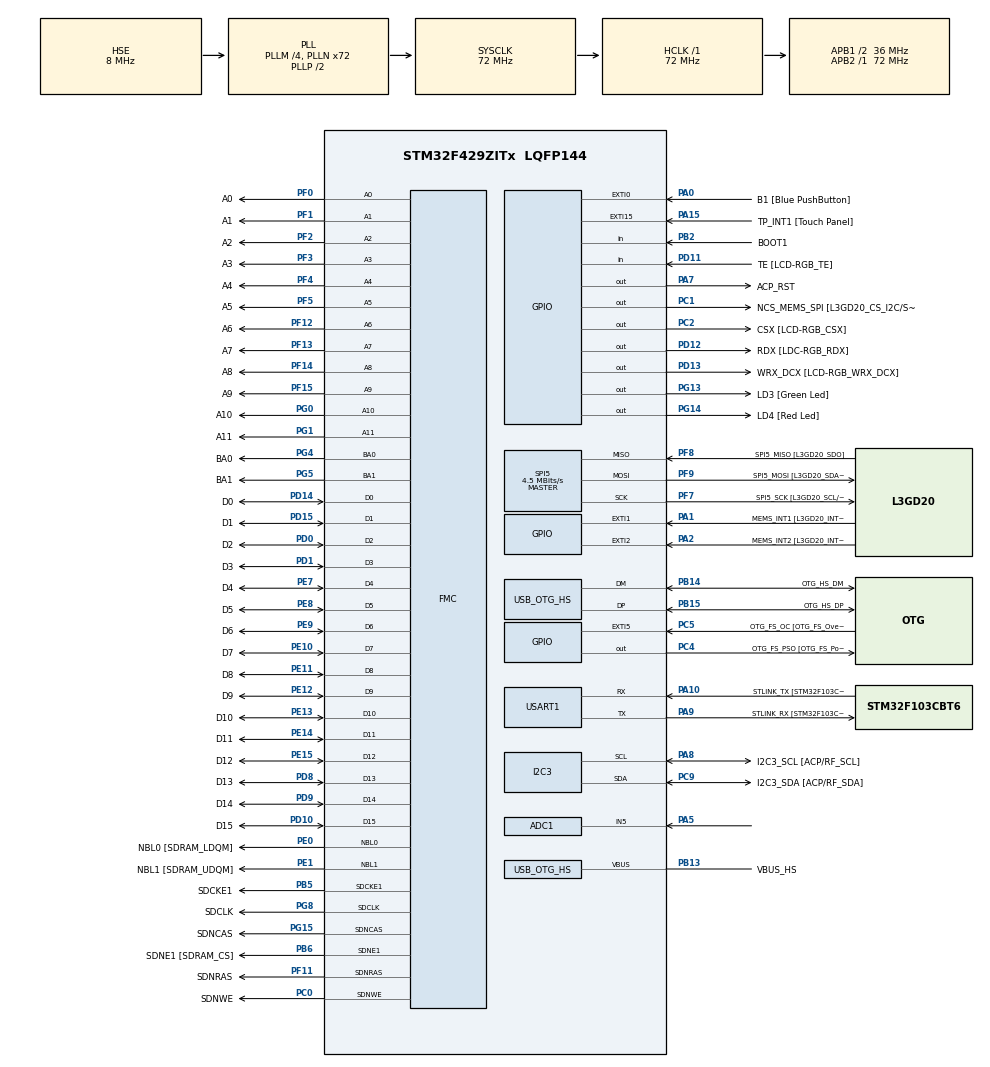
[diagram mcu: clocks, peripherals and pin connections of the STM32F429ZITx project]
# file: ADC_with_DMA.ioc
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ADC1.Channel-1\#ChannelRegularConversion=ADC_CHANNEL_5
ADC1.Channel-2\#ChannelRegularConversion=ADC_CHANNEL_TEMPSENSOR
ADC1.Channel-3\#ChannelRegularConversion=ADC_CHANNEL_VREFINT
ADC1.ContinuousConvMode=ENABLE
ADC1.DMAContinuousRequests=DISABLE
ADC1.NbrOfConversion=3
ADC1.NbrOfConversionFlag=1
ADC1.Rank-1\#ChannelRegularConversion=1
ADC1.Rank-2\#ChannelRegularConversion=2
ADC1.Rank-3\#ChannelRegularConversion=3
ADC1.Resolution=ADC_RESOLUTION_8B
ADC1.SamplingTime-1\#ChannelRegularConversion=ADC_SAMPLETIME_3CYCLES
ADC1.SamplingTime-2\#ChannelRegularConversion=ADC_SAMPLETIME_3CYCLES
ADC1.SamplingTime-3\#ChannelRegularConversion=ADC_SAMPLETIME_3CYCLES
ADC1.master=1
Dma.ADC1.0.Direction=DMA_PERIPH_TO_MEMORY
Dma.ADC1.0.FIFOMode=DMA_FIFOMODE_DISABLE
Dma.ADC1.0.Instance=DMA2_Stream0
Dma.ADC1.0.MemDataAlignment=DMA_MDATAALIGN_HALFWORD
Dma.ADC1.0.MemInc=DMA_MINC_ENABLE
Dma.ADC1.0.Mode=DMA_CIRCULAR
Dma.ADC1.0.PeriphDataAlignment=DMA_PDATAALIGN_HALFWORD
Dma.ADC1.0.PeriphInc=DMA_PINC_DISABLE
Dma.ADC1.0.Priority=DMA_PRIORITY_LOW
Dma.Request0=ADC1
FMC.CASLatency1=FMC_SDRAM_CAS_LATENCY_3
FMC.ExitSelfRefreshDelay1=7
FMC.LoadToActiveDelay1=2
FMC.RCDDelay1=2
FMC.RPDelay1=2
FMC.RPDelay2=2
FMC.ReadBurst1=FMC_SDRAM_RBURST_DISABLE
FMC.ReadPipeDelay1=FMC_SDRAM_RPIPE_DELAY_1
FMC.ReadPipeDelay2=FMC_SDRAM_RPIPE_DELAY_1
FMC.RowCycleDelay1=7
FMC.RowCycleDelay2=7
FMC.SDClockPeriod1=FMC_SDRAM_CLOCK_PERIOD_2
FMC.SDClockPeriod2=FMC_SDRAM_CLOCK_PERIOD_2
FMC.SelfRefreshTime1=4
FMC.WriteRecoveryTime1=3
Mcu.Family=STM32F4
Mcu.Name=STM32F429ZITx
Mcu.Package=LQFP144
NVIC.OTG_HS_IRQn=true\:0\:0\:false\:false\:true\:true\:true\:true
NVIC.PriorityGroup=NVIC_PRIORITYGROUP_4
NVIC.TIM6_DAC_IRQn=true\:15\:0\:false\:false\:true\:false\:true\:true
NVIC.TimeBase=TIM6_DAC_IRQn
NVIC.TimeBaseIP=TIM6
PA0/WKUP.GPIO_Label=B1 [Blue PushButton]
PA0/WKUP.GPIO_ModeDefaultEXTI=GPIO_MODE_EVT_RISING
PA0/WKUP.GPIO_PuPd=GPIO_NOPULL
PA0/WKUP.Signal=GPXTI0
PA1.GPIO_Label=MEMS_INT1 [L3GD20_INT1]
PA1.GPIO_ModeDefaultEXTI=GPIO_MODE_EVT_RISING
PA1.GPIO_PuPd=GPIO_NOPULL
PA1.Signal=GPXTI1
PA10.GPIO_Label=STLINK_TX [STM32F103CBT6_PA2]
PA10.Mode=Asynchronous
PA10.Signal=USART1_RX
PA11.GPIO_Label=R4
PA11.GPIO_Mode=GPIO_MODE_AF_PP
PA11.GPIO_PuPd=GPIO_NOPULL
PA11.GPIO_Speed=GPIO_SPEED_FREQ_LOW
PA11.Signal=LTDC_R4
PA12.GPIO_Label=R5
PA12.GPIO_Mode=GPIO_MODE_AF_PP
PA12.GPIO_PuPd=GPIO_NOPULL
PA12.GPIO_Speed=GPIO_SPEED_FREQ_LOW
PA12.Signal=LTDC_R5
PA13.GPIO_Label=SWDIO
PA13.Mode=Serial_Wire
PA13.Signal=SYS_JTMS-SWDIO
PA14.GPIO_Label=SWCLK
PA14.Mode=Serial_Wire
PA14.Signal=SYS_JTCK-SWCLK
PA15.GPIO_Label=TP_INT1 [Touch Panel]
PA15.GPIO_ModeDefaultEXTI=GPIO_MODE_EVT_RISING
PA15.GPIO_PuPd=GPIO_NOPULL
PA15.Signal=GPXTI15
PA2.GPIO_Label=MEMS_INT2 [L3GD20_INT2]
PA2.GPIO_ModeDefaultEXTI=GPIO_MODE_EVT_RISING
PA2.GPIO_PuPd=GPIO_NOPULL
PA2.Signal=GPXTI2
PA3.GPIO_Label=B5
PA3.GPIO_Mode=GPIO_MODE_AF_PP
PA3.GPIO_PuPd=GPIO_NOPULL
PA3.GPIO_Speed=GPIO_SPEED_FREQ_LOW
PA3.Signal=LTDC_B5
PA4.GPIO_Label=VSYNC
PA4.GPIO_Mode=GPIO_MODE_AF_PP
PA4.GPIO_PuPd=GPIO_NOPULL
PA4.GPIO_Speed=GPIO_SPEED_FREQ_LOW
PA4.Signal=LTDC_VSYNC
PA5.Signal=ADCx_IN5
PA6.GPIO_Label=G2
PA6.GPIO_Mode=GPIO_MODE_AF_PP
PA6.GPIO_PuPd=GPIO_NOPULL
PA6.GPIO_Speed=GPIO_SPEED_FREQ_LOW
PA6.Signal=LTDC_G2
PA7.GPIO_Label=ACP_RST
PA7.GPIO_Mode=GPIO_MODE_OUTPUT_PP
PA7.GPIO_PuPd=GPIO_NOPULL
PA7.GPIO_Speed=GPIO_SPEED_FREQ_LOW
PA7.Signal=GPIO_Output
PA8.GPIO_Label=I2C3_SCL [ACP/RF_SCL]
PA8.GPIO_Mode=GPIO_MODE_AF_OD
PA8.GPIO_Pu=GPIO_PULLUP
PA8.GPIO_PuPd=GPIO_NOPULL
PA8.GPIO_Speed=GPIO_SPEED_FREQ_LOW
PA8.Mode=I2C
PA8.Signal=I2C3_SCL
PA9.GPIO_Label=STLINK_RX [STM32F103CBT6_PA3]
PA9.Mode=Asynchronous
PA9.Signal=USART1_TX
PB0.GPIO_Label=R3
PB0.GPIO_Mode=GPIO_MODE_AF_PP
PB0.GPIO_PuPd=GPIO_NOPULL
PB0.GPIO_Speed=GPIO_SPEED_FREQ_LOW
PB0.Signal=LTDC_R3
PB1.GPIO_Label=R6
PB1.GPIO_Mode=GPIO_MODE_AF_PP
PB1.GPIO_PuPd=GPIO_NOPULL
PB1.GPIO_Speed=GPIO_SPEED_FREQ_LOW
PB1.Signal=LTDC_R6
PB10.GPIO_Label=G4
PB10.GPIO_Mode=GPIO_MODE_AF_PP
PB10.GPIO_PuPd=GPIO_NOPULL
PB10.GPIO_Speed=GPIO_SPEED_FREQ_LOW
PB10.Signal=LTDC_G4
PB11.GPIO_Label=G5
PB11.GPIO_Mode=GPIO_MODE_AF_PP
PB11.GPIO_PuPd=GPIO_NOPULL
PB11.GPIO_Speed=GPIO_SPEED_FREQ_LOW
PB11.Signal=LTDC_G5
PB12.GPIO_Label=OTG_HS_ID
PB12.GPIO_Mode=GPIO_MODE_AF_PP
PB12.GPIO_PuPd=GPIO_NOPULL
PB12.GPIO_Speed=GPIO_SPEED_FREQ_LOW
PB12.Signal=USB_OTG_HS_ID
PB13.GPIO_Label=VBUS_HS
PB13.GPIO_Mode=GPIO_MODE_INPUT
PB13.GPIO_PuPd=GPIO_NOPULL
PB13.Mode=Activate_VBUS_FS
PB13.Signal=USB_OTG_HS_VBUS
PB14.GPIO_Label=OTG_HS_DM
PB14.GPIO_Mode=GPIO_MODE_AF_PP
PB14.GPIO_PuPd=GPIO_NOPULL
PB14.GPIO_Speed=GPIO_SPEED_FREQ_LOW
PB14.Mode=Host_FS
PB14.Signal=USB_OTG_HS_DM
PB15.GPIO_Label=OTG_HS_DP
PB15.GPIO_Mode=GPIO_MODE_AF_PP
PB15.GPIO_PuPd=GPIO_NOPULL
PB15.GPIO_Speed=GPIO_SPEED_FREQ_LOW
PB15.Mode=Host_FS
PB15.Signal=USB_OTG_HS_DP
PB2/BOOT1.GPIO_Label=BOOT1
PB2/BOOT1.GPIO_Mode=GPIO_MODE_INPUT
PB2/BOOT1.GPIO_PuPd=GPIO_NOPULL
PB2/BOOT1.Signal=GPIO_Input
PB5.GPIO_Label=SDCKE1
PB5.GPIO_Mode=GPIO_MODE_AF_PP
PB5.GPIO_PuPd=GPIO_NOPULL
PB5.GPIO_Speed=GPIO_SPEED_FREQ_VERY_HIGH
PB5.Mode=SdramChipSelect2_1
PB5.Signal=FMC_SDCKE1
PB6.GPIO_Label=SDNE1 [SDRAM_CS]
PB6.GPIO_Mode=GPIO_MODE_AF_PP
PB6.GPIO_PuPd=GPIO_NOPULL
PB6.GPIO_Speed=GPIO_SPEED_FREQ_VERY_HIGH
PB6.Mode=SdramChipSelect2_1
PB6.Signal=FMC_SDNE1
PB8.GPIO_Label=B6
PB8.GPIO_Mode=GPIO_MODE_AF_PP
PB8.GPIO_PuPd=GPIO_NOPULL
PB8.GPIO_Speed=GPIO_SPEED_FREQ_LOW
PB8.Signal=LTDC_B6
PB9.GPIO_Label=B7
PB9.GPIO_Mode=GPIO_MODE_AF_PP
PB9.GPIO_PuPd=GPIO_NOPULL
PB9.GPIO_Speed=GPIO_SPEED_FREQ_LOW
PB9.Signal=LTDC_B7
PC0.GPIO_Label=SDNWE
PC0.GPIO_Mode=GPIO_MODE_AF_PP
PC0.GPIO_PuPd=GPIO_NOPULL
PC0.GPIO_Speed=GPIO_SPEED_FREQ_VERY_HIGH
PC0.Signal=FMC_SDNWE
PC1.GPIO_Label=NCS_MEMS_SPI [L3GD20_CS_I2C/SPI]
PC1.GPIO_Mode=GPIO_MODE_OUTPUT_PP
PC1.GPIO_PuPd=GPIO_NOPULL
PC1.GPIO_Speed=GPIO_SPEED_FREQ_LOW
PC1.Signal=GPIO_Output
PC10.GPIO_Label=R2
PC10.GPIO_Mode=GPIO_MODE_AF_PP
PC10.GPIO_PuPd=GPIO_NOPULL
PC10.GPIO_Speed=GPIO_SPEED_FREQ_LOW
PC10.Signal=LTDC_R2
PC14/OSC32_IN.GPIO_Label=PC14-OSC32_IN
PC14/OSC32_IN.Signal=RCC_OSC32_IN
PC15/OSC32_OUT.GPIO_Label=PC15-OSC32_OUT
PC15/OSC32_OUT.Signal=RCC_OSC32_OUT
PC2.GPIO_Label=CSX [LCD-RGB_CSX]
PC2.GPIO_Mode=GPIO_MODE_OUTPUT_PP
PC2.GPIO_PuPd=GPIO_NOPULL
PC2.GPIO_Speed=GPIO_SPEED_FREQ_LOW
PC2.Signal=GPIO_Output
PC4.GPIO_Label=OTG_FS_PSO [OTG_FS_PowerSwitchOn]
PC4.GPIO_Mode=GPIO_MODE_OUTPUT_PP
PC4.GPIO_PuPd=GPIO_NOPULL
PC4.GPIO_Speed=GPIO_SPEED_FREQ_LOW
PC4.Signal=GPIO_Output
PC5.GPIO_Label=OTG_FS_OC [OTG_FS_OverCurrent]
PC5.GPIO_ModeDefaultEXTI=GPIO_MODE_EVT_RISING
PC5.Signal=GPXTI5
PC6.GPIO_Label=HSYNC
PC6.GPIO_Mode=GPIO_MODE_AF_PP
PC6.GPIO_PuPd=GPIO_NOPULL
PC6.GPIO_Speed=GPIO_SPEED_FREQ_LOW
PC6.Signal=LTDC_HSYNC
PC7.GPIO_Label=G6
PC7.GPIO_Mode=GPIO_MODE_AF_PP
PC7.GPIO_PuPd=GPIO_NOPULL
PC7.GPIO_Speed=GPIO_SPEED_FREQ_LOW
PC7.Signal=LTDC_G6
PC9.GPIO_Label=I2C3_SDA [ACP/RF_SDA]
PC9.GPIO_Mode=GPIO_MODE_AF_OD
PC9.GPIO_Pu=GPIO_PULLUP
PC9.GPIO_PuPd=GPIO_NOPULL
PC9.GPIO_Speed=GPIO_SPEED_FREQ_LOW
PC9.Mode=I2C
PC9.Signal=I2C3_SDA
PD0.GPIO_Label=D2
PD0.GPIO_Mode=GPIO_MODE_AF_PP
PD0.GPIO_PuPd=GPIO_NOPULL
PD0.GPIO_Speed=GPIO_SPEED_FREQ_VERY_HIGH
PD0.Signal=FMC_D2_DA2
PD1.GPIO_Label=D3
PD1.GPIO_Mode=GPIO_MODE_AF_PP
PD1.GPIO_PuPd=GPIO_NOPULL
PD1.GPIO_Speed=GPIO_SPEED_FREQ_VERY_HIGH
PD1.Signal=FMC_D3_DA3
PD10.GPIO_Label=D15
PD10.GPIO_Mode=GPIO_MODE_AF_PP
PD10.GPIO_PuPd=GPIO_NOPULL
PD10.GPIO_Speed=GPIO_SPEED_FREQ_VERY_HIGH
PD10.Signal=FMC_D15_DA15
PD11.GPIO_Label=TE [LCD-RGB_TE]
PD11.GPIO_Mode=GPIO_MODE_INPUT
PD11.GPIO_PuPd=GPIO_NOPULL
PD11.Signal=GPIO_Input
PD12.GPIO_Label=RDX [LDC-RGB_RDX]
PD12.GPIO_Mode=GPIO_MODE_OUTPUT_PP
PD12.GPIO_PuPd=GPIO_NOPULL
PD12.GPIO_Speed=GPIO_SPEED_FREQ_LOW
PD12.Signal=GPIO_Output
PD13.GPIO_Label=WRX_DCX [LCD-RGB_WRX_DCX]
PD13.GPIO_Mode=GPIO_MODE_OUTPUT_PP
PD13.GPIO_PuPd=GPIO_NOPULL
PD13.GPIO_Speed=GPIO_SPEED_FREQ_LOW
PD13.Signal=GPIO_Output
PD14.GPIO_Label=D0
PD14.GPIO_Mode=GPIO_MODE_AF_PP
PD14.GPIO_PuPd=GPIO_NOPULL
PD14.GPIO_Speed=GPIO_SPEED_FREQ_VERY_HIGH
PD14.Signal=FMC_D0_DA0
PD15.GPIO_Label=D1
PD15.GPIO_Mode=GPIO_MODE_AF_PP
PD15.GPIO_PuPd=GPIO_NOPULL
PD15.GPIO_Speed=GPIO_SPEED_FREQ_VERY_HIGH
PD15.Signal=FMC_D1_DA1
PD3.GPIO_Label=G7
PD3.GPIO_Mode=GPIO_MODE_AF_PP
PD3.GPIO_PuPd=GPIO_NOPULL
PD3.GPIO_Speed=GPIO_SPEED_FREQ_LOW
PD3.Signal=LTDC_G7
PD6.GPIO_Label=B2
PD6.GPIO_Mode=GPIO_MODE_AF_PP
PD6.GPIO_PuPd=GPIO_NOPULL
PD6.GPIO_Speed=GPIO_SPEED_FREQ_LOW
PD6.Signal=LTDC_B2
PD8.GPIO_Label=D13
PD8.GPIO_Mode=GPIO_MODE_AF_PP
PD8.GPIO_PuPd=GPIO_NOPULL
PD8.GPIO_Speed=GPIO_SPEED_FREQ_VERY_HIGH
PD8.Signal=FMC_D13_DA13
PD9.GPIO_Label=D14
PD9.GPIO_Mode=GPIO_MODE_AF_PP
PD9.GPIO_PuPd=GPIO_NOPULL
PD9.GPIO_Speed=GPIO_SPEED_FREQ_VERY_HIGH
PD9.Signal=FMC_D14_DA14
PE0.GPIO_Label=NBL0 [SDRAM_LDQM]
PE0.GPIO_Mode=GPIO_MODE_AF_PP
PE0.GPIO_PuPd=GPIO_NOPULL
PE0.GPIO_Speed=GPIO_SPEED_FREQ_VERY_HIGH
PE0.Signal=FMC_NBL0
PE1.GPIO_Label=NBL1 [SDRAM_UDQM]
PE1.GPIO_Mode=GPIO_MODE_AF_PP
PE1.GPIO_PuPd=GPIO_NOPULL
PE1.GPIO_Speed=GPIO_SPEED_FREQ_VERY_HIGH
PE1.Signal=FMC_NBL1
PE10.GPIO_Label=D7
PE10.GPIO_Mode=GPIO_MODE_AF_PP
PE10.GPIO_PuPd=GPIO_NOPULL
PE10.GPIO_Speed=GPIO_SPEED_FREQ_VERY_HIGH
PE10.Signal=FMC_D7_DA7
PE11.GPIO_Label=D8
PE11.GPIO_Mode=GPIO_MODE_AF_PP
PE11.GPIO_PuPd=GPIO_NOPULL
PE11.GPIO_Speed=GPIO_SPEED_FREQ_VERY_HIGH
PE11.Signal=FMC_D8_DA8
PE12.GPIO_Label=D9
PE12.GPIO_Mode=GPIO_MODE_AF_PP
PE12.GPIO_PuPd=GPIO_NOPULL
PE12.GPIO_Speed=GPIO_SPEED_FREQ_VERY_HIGH
PE12.Signal=FMC_D9_DA9
PE13.GPIO_Label=D10
PE13.GPIO_Mode=GPIO_MODE_AF_PP
PE13.GPIO_PuPd=GPIO_NOPULL
PE13.GPIO_Speed=GPIO_SPEED_FREQ_VERY_HIGH
PE13.Signal=FMC_D10_DA10
PE14.GPIO_Label=D11
PE14.GPIO_Mode=GPIO_MODE_AF_PP
PE14.GPIO_PuPd=GPIO_NOPULL
PE14.GPIO_Speed=GPIO_SPEED_FREQ_VERY_HIGH
PE14.Signal=FMC_D11_DA11
PE15.GPIO_Label=D12
PE15.GPIO_Mode=GPIO_MODE_AF_PP
PE15.GPIO_PuPd=GPIO_NOPULL
PE15.GPIO_Speed=GPIO_SPEED_FREQ_VERY_HIGH
PE15.Signal=FMC_D12_DA12
PE7.GPIO_Label=D4
PE7.GPIO_Mode=GPIO_MODE_AF_PP
PE7.GPIO_PuPd=GPIO_NOPULL
PE7.GPIO_Speed=GPIO_SPEED_FREQ_VERY_HIGH
PE7.Signal=FMC_D4_DA4
PE8.GPIO_Label=D5
PE8.GPIO_Mode=GPIO_MODE_AF_PP
PE8.GPIO_PuPd=GPIO_NOPULL
PE8.GPIO_Speed=GPIO_SPEED_FREQ_VERY_HIGH
PE8.Signal=FMC_D5_DA5
PE9.GPIO_Label=D6
PE9.GPIO_Mode=GPIO_MODE_AF_PP
PE9.GPIO_PuPd=GPIO_NOPULL
PE9.GPIO_Speed=GPIO_SPEED_FREQ_VERY_HIGH
PE9.Signal=FMC_D6_DA6
PF0.GPIO_Label=A0
PF0.GPIO_Mode=GPIO_MODE_AF_PP
PF0.GPIO_PuPd=GPIO_NOPULL
PF0.GPIO_Speed=GPIO_SPEED_FREQ_VERY_HIGH
PF0.Signal=FMC_A0
PF1.GPIO_Label=A1
PF1.GPIO_Mode=GPIO_MODE_AF_PP
PF1.GPIO_PuPd=GPIO_NOPULL
PF1.GPIO_Speed=GPIO_SPEED_FREQ_VERY_HIGH
PF1.Signal=FMC_A1
PF10.GPIO_Label=ENABLE [LCD-RGB_ENABLE]
PF10.GPIO_Mode=GPIO_MODE_AF_PP
PF10.GPIO_PuPd=GPIO_NOPULL
PF10.GPIO_Speed=GPIO_SPEED_FREQ_LOW
PF10.Signal=LTDC_DE
PF11.GPIO_Label=SDNRAS
PF11.GPIO_Mode=GPIO_MODE_AF_PP
PF11.GPIO_PuPd=GPIO_NOPULL
PF11.GPIO_Speed=GPIO_SPEED_FREQ_VERY_HIGH
PF11.Signal=FMC_SDNRAS
PF12.GPIO_Label=A6
PF12.GPIO_Mode=GPIO_MODE_AF_PP
PF12.GPIO_PuPd=GPIO_NOPULL
PF12.GPIO_Speed=GPIO_SPEED_FREQ_VERY_HIGH
PF12.Signal=FMC_A6
PF13.GPIO_Label=A7
PF13.GPIO_Mode=GPIO_MODE_AF_PP
PF13.GPIO_PuPd=GPIO_NOPULL
PF13.GPIO_Speed=GPIO_SPEED_FREQ_VERY_HIGH
PF13.Signal=FMC_A7
PF14.GPIO_Label=A8
PF14.GPIO_Mode=GPIO_MODE_AF_PP
PF14.GPIO_PuPd=GPIO_NOPULL
PF14.GPIO_Speed=GPIO_SPEED_FREQ_VERY_HIGH
PF14.Signal=FMC_A8
PF15.GPIO_Label=A9
PF15.GPIO_Mode=GPIO_MODE_AF_PP
PF15.GPIO_PuPd=GPIO_NOPULL
PF15.GPIO_Speed=GPIO_SPEED_FREQ_VERY_HIGH
PF15.Signal=FMC_A9
PF2.GPIO_Label=A2
PF2.GPIO_Mode=GPIO_MODE_AF_PP
PF2.GPIO_PuPd=GPIO_NOPULL
PF2.GPIO_Speed=GPIO_SPEED_FREQ_VERY_HIGH
PF2.Signal=FMC_A2
PF3.GPIO_Label=A3
PF3.GPIO_Mode=GPIO_MODE_AF_PP
PF3.GPIO_PuPd=GPIO_NOPULL
PF3.GPIO_Speed=GPIO_SPEED_FREQ_VERY_HIGH
PF3.Signal=FMC_A3
PF4.GPIO_Label=A4
PF4.GPIO_Mode=GPIO_MODE_AF_PP
PF4.GPIO_PuPd=GPIO_NOPULL
PF4.GPIO_Speed=GPIO_SPEED_FREQ_VERY_HIGH
PF4.Signal=FMC_A4
PF5.GPIO_Label=A5
PF5.GPIO_Mode=GPIO_MODE_AF_PP
PF5.GPIO_PuPd=GPIO_NOPULL
PF5.GPIO_Speed=GPIO_SPEED_FREQ_VERY_HIGH
PF5.Signal=FMC_A5
PF7.GPIO_Label=SPI5_SCK [L3GD20_SCL/SPC]
PF7.GPIO_Mode=GPIO_MODE_AF_PP
PF7.GPIO_PuPd=GPIO_NOPULL
PF7.GPIO_Speed=GPIO_SPEED_FREQ_LOW
PF7.Mode=Full_Duplex_Master
PF7.Signal=SPI5_SCK
PF8.GPIO_Label=SPI5_MISO [L3GD20_SDO]
PF8.GPIO_Mode=GPIO_MODE_AF_PP
PF8.GPIO_PuPd=GPIO_NOPULL
PF8.GPIO_Speed=GPIO_SPEED_FREQ_LOW
PF8.Mode=Full_Duplex_Master
PF8.Signal=SPI5_MISO
PF9.GPIO_Label=SPI5_MOSI [L3GD20_SDA/SDI/SDO]
PF9.GPIO_Mode=GPIO_MODE_AF_PP
PF9.GPIO_PuPd=GPIO_NOPULL
PF9.GPIO_Speed=GPIO_SPEED_FREQ_LOW
PF9.Mode=Full_Duplex_Master
PF9.Signal=SPI5_MOSI
PG0.GPIO_Label=A10
PG0.GPIO_Mode=GPIO_MODE_AF_PP
PG0.GPIO_PuPd=GPIO_NOPULL
PG0.GPIO_Speed=GPIO_SPEED_FREQ_VERY_HIGH
PG0.Signal=FMC_A10
PG1.GPIO_Label=A11
PG1.GPIO_Mode=GPIO_MODE_AF_PP
PG1.GPIO_PuPd=GPIO_NOPULL
PG1.GPIO_Speed=GPIO_SPEED_FREQ_VERY_HIGH
PG1.Signal=FMC_A11
PG10.GPIO_Label=G3
PG10.GPIO_Mode=GPIO_MODE_AF_PP
PG10.GPIO_PuPd=GPIO_NOPULL
PG10.GPIO_Speed=GPIO_SPEED_FREQ_LOW
PG10.Signal=LTDC_G3
PG11.GPIO_Label=B3
PG11.GPIO_Mode=GPIO_MODE_AF_PP
PG11.GPIO_PuPd=GPIO_NOPULL
PG11.GPIO_Speed=GPIO_SPEED_FREQ_LOW
PG11.Signal=LTDC_B3
PG12.GPIO_Label=B4
PG12.GPIO_Mode=GPIO_MODE_AF_PP
PG12.GPIO_PuPd=GPIO_NOPULL
PG12.GPIO_Speed=GPIO_SPEED_FREQ_LOW
PG12.Signal=LTDC_B4
PG13.GPIO_Label=LD3 [Green Led]
PG13.GPIO_Mode=GPIO_MODE_OUTPUT_PP
PG13.GPIO_PuPd=GPIO_NOPULL
PG13.GPIO_Speed=GPIO_SPEED_FREQ_LOW
PG13.Signal=GPIO_Output
PG14.GPIO_Label=LD4 [Red Led]
PG14.GPIO_Mode=GPIO_MODE_OUTPUT_PP
PG14.GPIO_PuPd=GPIO_NOPULL
PG14.GPIO_Speed=GPIO_SPEED_FREQ_LOW
PG14.Signal=GPIO_Output
PG15.GPIO_Label=SDNCAS
PG15.GPIO_Mode=GPIO_MODE_AF_PP
PG15.GPIO_PuPd=GPIO_NOPULL
PG15.GPIO_Speed=GPIO_SPEED_FREQ_VERY_HIGH
PG15.Signal=FMC_SDNCAS
PG4.GPIO_Label=BA0
PG4.GPIO_Mode=GPIO_MODE_AF_PP
PG4.GPIO_PuPd=GPIO_NOPULL
PG4.GPIO_Speed=GPIO_SPEED_FREQ_VERY_HIGH
PG4.Signal=FMC_A14_BA0
PG5.GPIO_Label=BA1
PG5.GPIO_Mode=GPIO_MODE_AF_PP
PG5.GPIO_PuPd=GPIO_NOPULL
PG5.GPIO_Speed=GPIO_SPEED_FREQ_VERY_HIGH
PG5.Signal=FMC_A15_BA1
PG6.GPIO_Label=R7
PG6.GPIO_Mode=GPIO_MODE_AF_PP
PG6.GPIO_PuPd=GPIO_NOPULL
PG6.GPIO_Speed=GPIO_SPEED_FREQ_LOW
PG6.Signal=LTDC_R7
PG7.GPIO_Label=DOTCLK [LCT-RGB_DOTCLK]
PG7.GPIO_Mode=GPIO_MODE_AF_PP
PG7.GPIO_PuPd=GPIO_NOPULL
PG7.GPIO_Speed=GPIO_SPEED_FREQ_LOW
PG7.Signal=LTDC_CLK
PG8.GPIO_Label=SDCLK
PG8.GPIO_Mode=GPIO_MODE_AF_PP
PG8.GPIO_PuPd=GPIO_NOPULL
PG8.GPIO_Speed=GPIO_SPEED_FREQ_VERY_HIGH
PG8.Signal=FMC_SDCLK
PH0/OSC_IN.GPIO_Label=PH0-OSC_IN
PH0/OSC_IN.Mode=HSE-External-Oscillator
PH0/OSC_IN.Signal=RCC_OSC_IN
PH1/OSC_OUT.GPIO_Label=PH1-OSC_OUT
PH1/OSC_OUT.Mode=HSE-External-Oscillator
PH1/OSC_OUT.Signal=RCC_OSC_OUT
ProjectManager.HeapSize=0x200
ProjectManager.StackSize=0x400
ProjectManager.TargetToolchain=STM32CubeIDE
RCC.48MHZClocksFreq_Value=48000000
RCC.AHBFreq_Value=72000000
RCC.APB1CLKDivider=RCC_HCLK_DIV2
RCC.APB1Freq_Value=36000000
RCC.APB1TimFreq_Value=72000000
RCC.APB2Freq_Value=72000000
RCC.APB2TimFreq_Value=72000000
RCC.CortexFreq_Value=72000000
RCC.HCLKFreq_Value=72000000
RCC.HSE_VALUE=8000000
RCC.HSI_VALUE=16000000
RCC.LSE_VALUE=32768
RCC.PLLM=4
RCC.PLLN=72
RCC.PLLQ=3
RCC.PLLSAIN=50
RCC.SYSCLKFreq_VALUE=72000000
RCC.SYSCLKSource=RCC_SYSCLKSOURCE_PLLCLK
RCC.VCOOutputFreq_Value=144000000
SH.ADCx_IN5.0=ADC1_IN5,IN5
SH.FMC_A0.0=FMC_A0,12b-sda1
SH.FMC_A1.0=FMC_A1,12b-sda1
SH.FMC_A10.0=FMC_A10,12b-sda1
SH.FMC_A11.0=FMC_A11,12b-sda1
SH.FMC_A14_BA0.0=FMC_BA0,FourSdramBanks1
SH.FMC_A15_BA1.0=FMC_BA1,FourSdramBanks1
SH.FMC_A2.0=FMC_A2,12b-sda1
SH.FMC_A3.0=FMC_A3,12b-sda1
SH.FMC_A4.0=FMC_A4,12b-sda1
SH.FMC_A5.0=FMC_A5,12b-sda1
SH.FMC_A6.0=FMC_A6,12b-sda1
SH.FMC_A7.0=FMC_A7,12b-sda1
SH.FMC_A8.0=FMC_A8,12b-sda1
SH.FMC_A9.0=FMC_A9,12b-sda1
SH.FMC_D0_DA0.0=FMC_D0,sd-16b-d1
SH.FMC_D10_DA10.0=FMC_D10,sd-16b-d1
SH.FMC_D11_DA11.0=FMC_D11,sd-16b-d1
SH.FMC_D12_DA12.0=FMC_D12,sd-16b-d1
SH.FMC_D13_DA13.0=FMC_D13,sd-16b-d1
SH.FMC_D14_DA14.0=FMC_D14,sd-16b-d1
SH.FMC_D15_DA15.0=FMC_D15,sd-16b-d1
SH.FMC_D1_DA1.0=FMC_D1,sd-16b-d1
SH.FMC_D2_DA2.0=FMC_D2,sd-16b-d1
SH.FMC_D3_DA3.0=FMC_D3,sd-16b-d1
SH.FMC_D4_DA4.0=FMC_D4,sd-16b-d1
SH.FMC_D5_DA5.0=FMC_D5,sd-16b-d1
SH.FMC_D6_DA6.0=FMC_D6,sd-16b-d1
SH.FMC_D7_DA7.0=FMC_D7,sd-16b-d1
SH.FMC_D8_DA8.0=FMC_D8,sd-16b-d1
SH.FMC_D9_DA9.0=FMC_D9,sd-16b-d1
SH.FMC_NBL0.0=FMC_NBL0,Sd2ByteEnable1
SH.FMC_NBL1.0=FMC_NBL1,Sd2ByteEnable1
SH.FMC_SDCLK.0=FMC_SDCLK,12b-sda1
SH.FMC_SDNCAS.0=FMC_SDNCAS,12b-sda1
SH.FMC_SDNRAS.0=FMC_SDNRAS,12b-sda1
SH.FMC_SDNWE.0=FMC_SDNWE,12b-sda1
SPI5.BaudRatePrescaler=SPI_BAUDRATEPRESCALER_16
SPI5.CalculateBaudRate=4.5 MBits/s
SPI5.Direction=SPI_DIRECTION_2LINES
SPI5.Mode=SPI_MODE_MASTER
SPI5.VirtualType=VM_MASTER
USART1.VirtualMode=VM_ASYNC
USB_HOST.BSP.number=1
USB_HOST.USBH_HandleTypeDef-CDC_HS=hUsbHostHS
USB_HOST.VirtualModeHS=Cdc
USB_HOST0.BSP.STBoard=false
USB_HOST0.BSP.api=UnknownBspDriver
USB_HOST0.BSP.instance=PC4
USB_HOST0.BSP.ip=GPIO
USB_HOST0.BSP.mode=Output
USB_HOST0.BSP.name=Drive_VBUS_HS
USB_HOST0.BSP.solution=PC4
USB_OTG_HS.VirtualMode-Host_FS=Host_FS
VP_ADC1_TempSens_Input.Mode=IN-TempSens
VP_ADC1_Vref_Input.Mode=IN-Vrefint
VP_CRC_VS_CRC.Mode=CRC_Activate
VP_SYS_VS_tim6.Mode=TIM6
VP_TIM1_VS_ClockSourceINT.Mode=Internal
VP_USB_HOST_VS_USB_HOST_CDC_HS.Mode=CDC_HS
board=STM32F429I-DISC1

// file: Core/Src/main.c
/* USER CODE BEGIN Header */
/**
  ******************************************************************************
  * @file           : main.c
  * @brief          : Main program body
  ******************************************************************************
  * @attention
  *
  * Copyright (c) 2024 STMicroelectronics.
  * All rights reserved.
  *
  * This software is licensed under terms that can be found in the LICENSE file
  * in the root directory of this software component.
  * If no LICENSE file comes with this software, it is provided AS-IS.
  *
  ******************************************************************************
  */
/* USER CODE END Header */
#include "main.h"
#include "usb_host.h"

ADC_HandleTypeDef hadc1;
DMA_HandleTypeDef hdma_adc1;

CRC_HandleTypeDef hcrc;

I2C_HandleTypeDef hi2c3;

SPI_HandleTypeDef hspi5;

TIM_HandleTypeDef htim1;

UART_HandleTypeDef huart1;

SDRAM_HandleTypeDef hsdram1;

/* USER CODE BEGIN PV */
uint8_t adc_value_1 = 0;
uint8_t adc_value_2 = 0;
uint8_t adc_value_3 = 0;
/* USER CODE END PV */

void SystemClock_Config(void);
static void MX_GPIO_Init(void);
static void MX_DMA_Init(void);
static void MX_CRC_Init(void);
static void MX_FMC_Init(void);
static void MX_I2C3_Init(void);
static void MX_SPI5_Init(void);
static void MX_TIM1_Init(void);
static void MX_USART1_UART_Init(void);
static void MX_ADC1_Init(void);
void MX_USB_HOST_Process(void);

/* USER CODE BEGIN PFP */
// printf -> _write ?��?���? ?��?��?��?��?�� HAL_UART_Transmit�? ?��?��?�� 출력?��?���? �?�?
int _write(int file, char* p, int len){
	HAL_UART_Transmit(&huart1, p, len, 10);
	return len;
}

void kgs_get_adc_array(ADC_HandleTypeDef *hadc,uint32_t value_1,uint32_t value_2,uint32_t value_3)
{

	adc_value_1 = (hadc->Instance->SQR3 & ADC_SQR3_SQ1 ) ;
	adc_value_2 = (  (hadc->Instance->SQR3) >> 5  & ADC_SQR3_SQ1) ;
	adc_value_3 = (  (hadc->Instance->SQR3) >> 10  & ADC_SQR3_SQ1 ) ;

}

/* USER CODE END PFP */

int main(void)
{

  /* MCU Configuration--------------------------------------------------------*/

  /* Reset of all peripherals, Initializes the Flash interface and the Systick. */
  HAL_Init();

  /* Configure the system clock */
  SystemClock_Config();

  /* Initialize all configured peripherals */
  MX_GPIO_Init();
  MX_DMA_Init();
  MX_CRC_Init();
  MX_FMC_Init();
  MX_I2C3_Init();
  MX_SPI5_Init();
  MX_TIM1_Init();
  MX_USART1_UART_Init();
  MX_USB_HOST_Init();
  MX_ADC1_Init();
  /* USER CODE BEGIN 2 */
  //HAL_ADC_Start(&hadc1);

  /* USER CODE END 2 */

  /* Infinite loop */
  /* USER CODE BEGIN WHILE */

  while (1)
  {
	  HAL_ADC_Start(&hadc1);

	 // adc_value = HAL_ADC_GetValue(&hadc1);
	  kgs_get_adc_array(&hadc1    ,adc_value_1,adc_value_2,adc_value_3 );
	  HAL_ADC_PollForConversion(&hadc1,10);

    HAL_ADC_Stop(&hadc1);

	printf("adc_value 1 : %d\n", adc_value_1);
	printf("adc_value 2 : %d\n", adc_value_2);
	printf("adc_value 3 : %d\n", adc_value_3);
	//HAL_Delay(100);
    /* USER CODE END WHILE */
    MX_USB_HOST_Process();

  }
}

void SystemClock_Config(void)
{
  RCC_OscInitTypeDef RCC_OscInitStruct = {0};
  RCC_ClkInitTypeDef RCC_ClkInitStruct = {0};

  /** Configure the main internal regulator output voltage
  */
  __HAL_RCC_PWR_CLK_ENABLE();
  __HAL_PWR_VOLTAGESCALING_CONFIG(PWR_REGULATOR_VOLTAGE_SCALE3);

  /** Initializes the RCC Oscillators according to the specified parameters
  * in the RCC_OscInitTypeDef structure.
  */
  RCC_OscInitStruct.OscillatorType = RCC_OSCILLATORTYPE_HSE;
  RCC_OscInitStruct.HSEState = RCC_HSE_ON;
  RCC_OscInitStruct.PLL.PLLState = RCC_PLL_ON;
  RCC_OscInitStruct.PLL.PLLSource = RCC_PLLSOURCE_HSE;
  RCC_OscInitStruct.PLL.PLLM = 4;
  RCC_OscInitStruct.PLL.PLLN = 72;
  RCC_OscInitStruct.PLL.PLLP = RCC_PLLP_DIV2;
  RCC_OscInitStruct.PLL.PLLQ = 3;
  if (HAL_RCC_OscConfig(&RCC_OscInitStruct) != HAL_OK)
  {
    Error_Handler();
  }

  /** Initializes the CPU, AHB and APB buses clocks
  */
  RCC_ClkInitStruct.ClockType = RCC_CLOCKTYPE_HCLK|RCC_CLOCKTYPE_SYSCLK
                              |RCC_CLOCKTYPE_PCLK1|RCC_CLOCKTYPE_PCLK2;
  RCC_ClkInitStruct.SYSCLKSource = RCC_SYSCLKSOURCE_PLLCLK;
  RCC_ClkInitStruct.AHBCLKDivider = RCC_SYSCLK_DIV1;
  RCC_ClkInitStruct.APB1CLKDivider = RCC_HCLK_DIV2;
  RCC_ClkInitStruct.APB2CLKDivider = RCC_HCLK_DIV1;

  if (HAL_RCC_ClockConfig(&RCC_ClkInitStruct, FLASH_LATENCY_2) != HAL_OK)
  {
    Error_Handler();
  }
}

static void MX_ADC1_Init(void)
{

  ADC_ChannelConfTypeDef sConfig = {0};

  /** Configure the global features of the ADC (Clock, Resolution, Data Alignment and number of conversion)
  */
  hadc1.Instance = ADC1;
  hadc1.Init.ClockPrescaler = ADC_CLOCK_SYNC_PCLK_DIV2;
  hadc1.Init.Resolution = ADC_RESOLUTION_8B;
  hadc1.Init.ScanConvMode = ENABLE;
  hadc1.Init.ContinuousConvMode = ENABLE;
  hadc1.Init.DiscontinuousConvMode = DISABLE;
  hadc1.Init.ExternalTrigConvEdge = ADC_EXTERNALTRIGCONVEDGE_NONE;
  hadc1.Init.ExternalTrigConv = ADC_SOFTWARE_START;
  hadc1.Init.DataAlign = ADC_DATAALIGN_RIGHT;
  hadc1.Init.NbrOfConversion = 3;
  hadc1.Init.DMAContinuousRequests = DISABLE;
  hadc1.Init.EOCSelection = ADC_EOC_SINGLE_CONV;
  if (HAL_ADC_Init(&hadc1) != HAL_OK)
  {
    Error_Handler();
  }

  /** Configure for the selected ADC regular channel its corresponding rank in the sequencer and its sample time.
  */
  sConfig.Channel = ADC_CHANNEL_5;
  sConfig.Rank = 1;
  sConfig.SamplingTime = ADC_SAMPLETIME_3CYCLES;
  if (HAL_ADC_ConfigChannel(&hadc1, &sConfig) != HAL_OK)
  {
    Error_Handler();
  }

  /** Configure for the selected ADC regular channel its corresponding rank in the sequencer and its sample time.
  */
  sConfig.Channel = ADC_CHANNEL_TEMPSENSOR;
  sConfig.Rank = 2;
  if (HAL_ADC_ConfigChannel(&hadc1, &sConfig) != HAL_OK)
  {
    Error_Handler();
  }

  /** Configure for the selected ADC regular channel its corresponding rank in the sequencer and its sample time.
  */
  sConfig.Channel = ADC_CHANNEL_VREFINT;
  sConfig.Rank = 3;
  if (HAL_ADC_ConfigChannel(&hadc1, &sConfig) != HAL_OK)
  {
    Error_Handler();
  }

}

static void MX_CRC_Init(void)
{

  hcrc.Instance = CRC;
  if (HAL_CRC_Init(&hcrc) != HAL_OK)
  {
    Error_Handler();
  }

}

static void MX_I2C3_Init(void)
{

  hi2c3.Instance = I2C3;
  hi2c3.Init.ClockSpeed = 100000;
  hi2c3.Init.DutyCycle = I2C_DUTYCYCLE_2;
  hi2c3.Init.OwnAddress1 = 0;
  hi2c3.Init.AddressingMode = I2C_ADDRESSINGMODE_7BIT;
  hi2c3.Init.DualAddressMode = I2C_DUALADDRESS_DISABLE;
  hi2c3.Init.OwnAddress2 = 0;
  hi2c3.Init.GeneralCallMode = I2C_GENERALCALL_DISABLE;
  hi2c3.Init.NoStretchMode = I2C_NOSTRETCH_DISABLE;
  if (HAL_I2C_Init(&hi2c3) != HAL_OK)
  {
    Error_Handler();
  }

  /** Configure Analogue filter
  */
  if (HAL_I2CEx_ConfigAnalogFilter(&hi2c3, I2C_ANALOGFILTER_ENABLE) != HAL_OK)
  {
    Error_Handler();
  }

  /** Configure Digital filter
  */
  if (HAL_I2CEx_ConfigDigitalFilter(&hi2c3, 0) != HAL_OK)
  {
    Error_Handler();
  }

}

static void MX_SPI5_Init(void)
{

  /* SPI5 parameter configuration*/
  hspi5.Instance = SPI5;
  hspi5.Init.Mode = SPI_MODE_MASTER;
  hspi5.Init.Direction = SPI_DIRECTION_2LINES;
  hspi5.Init.DataSize = SPI_DATASIZE_8BIT;
  hspi5.Init.CLKPolarity = SPI_POLARITY_LOW;
  hspi5.Init.CLKPhase = SPI_PHASE_1EDGE;
  hspi5.Init.NSS = SPI_NSS_SOFT;
  hspi5.Init.BaudRatePrescaler = SPI_BAUDRATEPRESCALER_16;
  hspi5.Init.FirstBit = SPI_FIRSTBIT_MSB;
  hspi5.Init.TIMode = SPI_TIMODE_DISABLE;
  hspi5.Init.CRCCalculation = SPI_CRCCALCULATION_DISABLE;
  hspi5.Init.CRCPolynomial = 10;
  if (HAL_SPI_Init(&hspi5) != HAL_OK)
  {
    Error_Handler();
  }

}

static void MX_TIM1_Init(void)
{

  TIM_ClockConfigTypeDef sClockSourceConfig = {0};
  TIM_MasterConfigTypeDef sMasterConfig = {0};

  htim1.Instance = TIM1;
  htim1.Init.Prescaler = 0;
  htim1.Init.CounterMode = TIM_COUNTERMODE_UP;
  htim1.Init.Period = 65535;
  htim1.Init.ClockDivision = TIM_CLOCKDIVISION_DIV1;
  htim1.Init.RepetitionCounter = 0;
  htim1.Init.AutoReloadPreload = TIM_AUTORELOAD_PRELOAD_DISABLE;
  if (HAL_TIM_Base_Init(&htim1) != HAL_OK)
  {
    Error_Handler();
  }
  sClockSourceConfig.ClockSource = TIM_CLOCKSOURCE_INTERNAL;
  if (HAL_TIM_ConfigClockSource(&htim1, &sClockSourceConfig) != HAL_OK)
  {
    Error_Handler();
  }
  sMasterConfig.MasterOutputTrigger = TIM_TRGO_RESET;
  sMasterConfig.MasterSlaveMode = TIM_MASTERSLAVEMODE_DISABLE;
  if (HAL_TIMEx_MasterConfigSynchronization(&htim1, &sMasterConfig) != HAL_OK)
  {
    Error_Handler();
  }

}

static void MX_USART1_UART_Init(void)
{

  huart1.Instance = USART1;
  huart1.Init.BaudRate = 115200;
  huart1.Init.WordLength = UART_WORDLENGTH_8B;
  huart1.Init.StopBits = UART_STOPBITS_1;
  huart1.Init.Parity = UART_PARITY_NONE;
  huart1.Init.Mode = UART_MODE_TX_RX;
  huart1.Init.HwFlowCtl = UART_HWCONTROL_NONE;
  huart1.Init.OverSampling = UART_OVERSAMPLING_16;
  if (HAL_UART_Init(&huart1) != HAL_OK)
  {
    Error_Handler();
  }

}

static void MX_DMA_Init(void)
{

  /* DMA controller clock enable */
  __HAL_RCC_DMA2_CLK_ENABLE();

}

/* FMC initialization function */
static void MX_FMC_Init(void)
{

  FMC_SDRAM_TimingTypeDef SdramTiming = {0};

  /** Perform the SDRAM1 memory initialization sequence
  */
  hsdram1.Instance = FMC_SDRAM_DEVICE;
  /* hsdram1.Init */
  hsdram1.Init.SDBank = FMC_SDRAM_BANK2;
  hsdram1.Init.ColumnBitsNumber = FMC_SDRAM_COLUMN_BITS_NUM_8;
  hsdram1.Init.RowBitsNumber = FMC_SDRAM_ROW_BITS_NUM_12;
  hsdram1.Init.MemoryDataWidth = FMC_SDRAM_MEM_BUS_WIDTH_16;
  hsdram1.Init.InternalBankNumber = FMC_SDRAM_INTERN_BANKS_NUM_4;
  hsdram1.Init.CASLatency = FMC_SDRAM_CAS_LATENCY_3;
  hsdram1.Init.WriteProtection = FMC_SDRAM_WRITE_PROTECTION_DISABLE;
  hsdram1.Init.SDClockPeriod = FMC_SDRAM_CLOCK_PERIOD_2;
  hsdram1.Init.ReadBurst = FMC_SDRAM_RBURST_DISABLE;
  hsdram1.Init.ReadPipeDelay = FMC_SDRAM_RPIPE_DELAY_1;
  /* SdramTiming */
  SdramTiming.LoadToActiveDelay = 2;
  SdramTiming.ExitSelfRefreshDelay = 7;
  SdramTiming.SelfRefreshTime = 4;
  SdramTiming.RowCycleDelay = 7;
  SdramTiming.WriteRecoveryTime = 3;
  SdramTiming.RPDelay = 2;
  SdramTiming.RCDDelay = 2;

  if (HAL_SDRAM_Init(&hsdram1, &SdramTiming) != HAL_OK)
  {
    Error_Handler( );
  }

}

static void MX_GPIO_Init(void)
{
  GPIO_InitTypeDef GPIO_InitStruct = {0};

  /* GPIO Ports Clock Enable */
  __HAL_RCC_GPIOC_CLK_ENABLE();
  __HAL_RCC_GPIOF_CLK_ENABLE();
  __HAL_RCC_GPIOH_CLK_ENABLE();
  __HAL_RCC_GPIOA_CLK_ENABLE();
  __HAL_RCC_GPIOB_CLK_ENABLE();
  __HAL_RCC_GPIOG_CLK_ENABLE();
  __HAL_RCC_GPIOE_CLK_ENABLE();
  __HAL_RCC_GPIOD_CLK_ENABLE();

  /*Configure GPIO pin Output Level */
  HAL_GPIO_WritePin(GPIOC, NCS_MEMS_SPI_Pin|CSX_Pin|OTG_FS_PSO_Pin, GPIO_PIN_RESET);

  /*Configure GPIO pin Output Level */
  HAL_GPIO_WritePin(ACP_RST_GPIO_Port, ACP_RST_Pin, GPIO_PIN_RESET);

  /*Configure GPIO pin Output Level */
  HAL_GPIO_WritePin(GPIOD, RDX_Pin|WRX_DCX_Pin, GPIO_PIN_RESET);

  /*Configure GPIO pin Output Level */
  HAL_GPIO_WritePin(GPIOG, LD3_Pin|LD4_Pin, GPIO_PIN_RESET);

  /*Configure GPIO pin : ENABLE_Pin */
  GPIO_InitStruct.Pin = ENABLE_Pin;
  GPIO_InitStruct.Mode = GPIO_MODE_AF_PP;
  GPIO_InitStruct.Pull = GPIO_NOPULL;
  GPIO_InitStruct.Speed = GPIO_SPEED_FREQ_LOW;
  GPIO_InitStruct.Alternate = GPIO_AF14_LTDC;
  HAL_GPIO_Init(ENABLE_GPIO_Port, &GPIO_InitStruct);

  /*Configure GPIO pins : NCS_MEMS_SPI_Pin CSX_Pin OTG_FS_PSO_Pin */
  GPIO_InitStruct.Pin = NCS_MEMS_SPI_Pin|CSX_Pin|OTG_FS_PSO_Pin;
  GPIO_InitStruct.Mode = GPIO_MODE_OUTPUT_PP;
  GPIO_InitStruct.Pull = GPIO_NOPULL;
  GPIO_InitStruct.Speed = GPIO_SPEED_FREQ_LOW;
  HAL_GPIO_Init(GPIOC, &GPIO_InitStruct);

  /*Configure GPIO pins : B1_Pin MEMS_INT1_Pin MEMS_INT2_Pin TP_INT1_Pin */
  GPIO_InitStruct.Pin = B1_Pin|MEMS_INT1_Pin|MEMS_INT2_Pin|TP_INT1_Pin;
  GPIO_InitStruct.Mode = GPIO_MODE_EVT_RISING;
  GPIO_InitStruct.Pull = GPIO_NOPULL;
  HAL_GPIO_Init(GPIOA, &GPIO_InitStruct);

  /*Configure GPIO pins : B5_Pin VSYNC_Pin G2_Pin R4_Pin
                           R5_Pin */
  GPIO_InitStruct.Pin = B5_Pin|VSYNC_Pin|G2_Pin|R4_Pin
                          |R5_Pin;
  GPIO_InitStruct.Mode = GPIO_MODE_AF_PP;
  GPIO_InitStruct.Pull = GPIO_NOPULL;
  GPIO_InitStruct.Speed = GPIO_SPEED_FREQ_LOW;
  GPIO_InitStruct.Alternate = GPIO_AF14_LTDC;
  HAL_GPIO_Init(GPIOA, &GPIO_InitStruct);

  /*Configure GPIO pin : ACP_RST_Pin */
  GPIO_InitStruct.Pin = ACP_RST_Pin;
  GPIO_InitStruct.Mode = GPIO_MODE_OUTPUT_PP;
  GPIO_InitStruct.Pull = GPIO_NOPULL;
  GPIO_InitStruct.Speed = GPIO_SPEED_FREQ_LOW;
  HAL_GPIO_Init(ACP_RST_GPIO_Port, &GPIO_InitStruct);

  /*Configure GPIO pin : OTG_FS_OC_Pin */
  GPIO_InitStruct.Pin = OTG_FS_OC_Pin;
  GPIO_InitStruct.Mode = GPIO_MODE_EVT_RISING;
  GPIO_InitStruct.Pull = GPIO_NOPULL;
  HAL_GPIO_Init(OTG_FS_OC_GPIO_Port, &GPIO_InitStruct);

  /*Configure GPIO pins : R3_Pin R6_Pin */
  GPIO_InitStruct.Pin = R3_Pin|R6_Pin;
  GPIO_InitStruct.Mode = GPIO_MODE_AF_PP;
  GPIO_InitStruct.Pull = GPIO_NOPULL;
  GPIO_InitStruct.Speed = GPIO_SPEED_FREQ_LOW;
  GPIO_InitStruct.Alternate = GPIO_AF9_LTDC;
  HAL_GPIO_Init(GPIOB, &GPIO_InitStruct);

  /*Configure GPIO pin : BOOT1_Pin */
  GPIO_InitStruct.Pin = BOOT1_Pin;
  GPIO_InitStruct.Mode = GPIO_MODE_INPUT;
  GPIO_InitStruct.Pull = GPIO_NOPULL;
  HAL_GPIO_Init(BOOT1_GPIO_Port, &GPIO_InitStruct);

  /*Configure GPIO pins : G4_Pin G5_Pin B6_Pin B7_Pin */
  GPIO_InitStruct.Pin = G4_Pin|G5_Pin|B6_Pin|B7_Pin;
  GPIO_InitStruct.Mode = GPIO_MODE_AF_PP;
  GPIO_InitStruct.Pull = GPIO_NOPULL;
  GPIO_InitStruct.Speed = GPIO_SPEED_FREQ_LOW;
  GPIO_InitStruct.Alternate = GPIO_AF14_LTDC;
  HAL_GPIO_Init(GPIOB, &GPIO_InitStruct);

  /*Configure GPIO pin : TE_Pin */
  GPIO_InitStruct.Pin = TE_Pin;
  GPIO_InitStruct.Mode = GPIO_MODE_INPUT;
  GPIO_InitStruct.Pull = GPIO_NOPULL;
  HAL_GPIO_Init(TE_GPIO_Port, &GPIO_InitStruct);

  /*Configure GPIO pins : RDX_Pin WRX_DCX_Pin */
  GPIO_InitStruct.Pin = RDX_Pin|WRX_DCX_Pin;
  GPIO_InitStruct.Mode = GPIO_MODE_OUTPUT_PP;
  GPIO_InitStruct.Pull = GPIO_NOPULL;
  GPIO_InitStruct.Speed = GPIO_SPEED_FREQ_LOW;
  HAL_GPIO_Init(GPIOD, &GPIO_InitStruct);

  /*Configure GPIO pins : R7_Pin DOTCLK_Pin B3_Pin */
  GPIO_InitStruct.Pin = R7_Pin|DOTCLK_Pin|B3_Pin;
  GPIO_InitStruct.Mode = GPIO_MODE_AF_PP;
  GPIO_InitStruct.Pull = GPIO_NOPULL;
  GPIO_InitStruct.Speed = GPIO_SPEED_FREQ_LOW;
  GPIO_InitStruct.Alternate = GPIO_AF14_LTDC;
  HAL_GPIO_Init(GPIOG, &GPIO_InitStruct);

  /*Configure GPIO pins : HSYNC_Pin G6_Pin R2_Pin */
  GPIO_InitStruct.Pin = HSYNC_Pin|G6_Pin|R2_Pin;
  GPIO_InitStruct.Mode = GPIO_MODE_AF_PP;
  GPIO_InitStruct.Pull = GPIO_NOPULL;
  GPIO_InitStruct.Speed = GPIO_SPEED_FREQ_LOW;
  GPIO_InitStruct.Alternate = GPIO_AF14_LTDC;
  HAL_GPIO_Init(GPIOC, &GPIO_InitStruct);

  /*Configure GPIO pins : G7_Pin B2_Pin */
  GPIO_InitStruct.Pin = G7_Pin|B2_Pin;
  GPIO_InitStruct.Mode = GPIO_MODE_AF_PP;
  GPIO_InitStruct.Pull = GPIO_NOPULL;
  GPIO_InitStruct.Speed = GPIO_SPEED_FREQ_LOW;
  GPIO_InitStruct.Alternate = GPIO_AF14_LTDC;
  HAL_GPIO_Init(GPIOD, &GPIO_InitStruct);

  /*Configure GPIO pins : G3_Pin B4_Pin */
  GPIO_InitStruct.Pin = G3_Pin|B4_Pin;
  GPIO_InitStruct.Mode = GPIO_MODE_AF_PP;
  GPIO_InitStruct.Pull = GPIO_NOPULL;
  GPIO_InitStruct.Speed = GPIO_SPEED_FREQ_LOW;
  GPIO_InitStruct.Alternate = GPIO_AF9_LTDC;
  HAL_GPIO_Init(GPIOG, &GPIO_InitStruct);

  /*Configure GPIO pins : LD3_Pin LD4_Pin */
  GPIO_InitStruct.Pin = LD3_Pin|LD4_Pin;
  GPIO_InitStruct.Mode = GPIO_MODE_OUTPUT_PP;
  GPIO_InitStruct.Pull = GPIO_NOPULL;
  GPIO_InitStruct.Speed = GPIO_SPEED_FREQ_LOW;
  HAL_GPIO_Init(GPIOG, &GPIO_InitStruct);

}

void HAL_TIM_PeriodElapsedCallback(TIM_HandleTypeDef *htim)
{
  if (htim->Instance == TIM6) {
    HAL_IncTick();
  }
}

void Error_Handler(void)
{
  __disable_irq();
  while (1)
  {
  }
}
